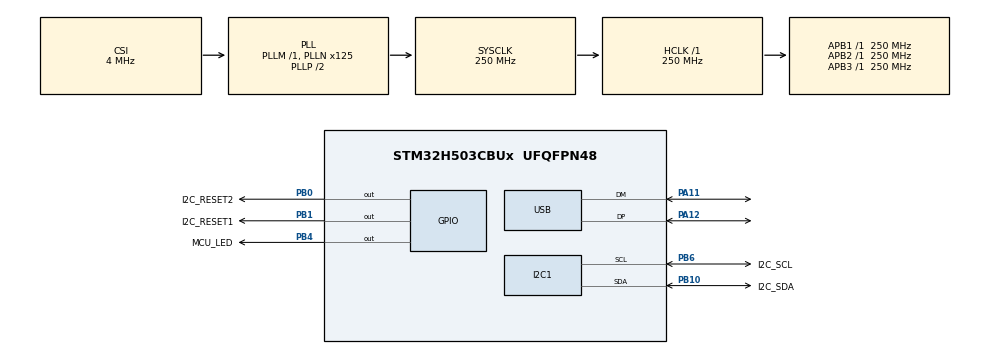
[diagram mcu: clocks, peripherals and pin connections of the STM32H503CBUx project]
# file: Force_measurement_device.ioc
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BOOTPATH.BootPathName=LEGACY
BOOTPATH.UserSelectedBootPath=LEGACY
I2C1.Analog_Filter=I2C_ANALOGFILTER_DISABLE
I2C1.Timing=0x50A0A6F8
Mcu.Family=STM32H5
Mcu.Name=STM32H503CBUx
Mcu.Package=UFQFPN48
NVIC.I2C1_ER_IRQn=true\:10\:0\:true\:false\:true\:false\:true\:true\:true
NVIC.I2C1_EV_IRQn=true\:10\:0\:true\:false\:true\:false\:true\:true\:true
NVIC.PriorityGroup=NVIC_PRIORITYGROUP_4
NVIC.TIM1_UP_IRQn=true\:15\:0\:false\:false\:true\:false\:false\:true\:true
NVIC.TimeBase=TIM1_UP_IRQn
NVIC.TimeBaseIP=TIM1
NVIC.USB_DRD_FS_IRQn=true\:0\:0\:false\:false\:true\:false\:true\:true\:true
PA11.Mode=Device
PA11.Signal=USB_DM
PA12.Mode=Device
PA12.Signal=USB_DP
PA13(JTMS/SWDIO).Mode=Serial_Wire
PA13(JTMS/SWDIO).Signal=DEBUG_JTMS-SWDIO
PA14(JTCK/SWCLK).Mode=Serial_Wire
PA14(JTCK/SWCLK).Signal=DEBUG_JTCK-SWCLK
PB0.GPIO_Label=I2C_RESET2
PB0.Signal=GPIO_Output
PB1.GPIO_Label=I2C_RESET1
PB1.Signal=GPIO_Output
PB10.GPIO_Label=I2C_SDA
PB10.Mode=I2C
PB10.Signal=I2C1_SDA
PB4(NJTRST).GPIO_Label=MCU_LED
PB4(NJTRST).Signal=GPIO_Output
PB6.GPIO_Label=I2C_SCL
PB6.Mode=I2C
PB6.Signal=I2C1_SCL
PH0-OSC_IN(PH0).Mode=HSE-External-Clock-Source
PH0-OSC_IN(PH0).Signal=RCC_OSC_IN
ProjectManager.HeapSize=0x0
ProjectManager.StackSize=0x400
ProjectManager.TargetToolchain=STM32CubeIDE
RCC.ADCFreq_Value=250000000
RCC.AHBFreq_Value=250000000
RCC.APB1Freq_Value=250000000
RCC.APB1TimFreq_Value=250000000
RCC.APB2Freq_Value=250000000
RCC.APB2TimFreq_Value=250000000
RCC.APB3Freq_Value=250000000
RCC.CSI_VALUE=4000000
RCC.CortexFreq_Value=250000000
RCC.EPOD_VALUE=4000000
RCC.HCLKFreq_Value=250000000
RCC.HSE_VALUE=16000000
RCC.HSI48_VALUE=48000000
RCC.HSI_VALUE=64000000
RCC.LSE_VALUE=32768
RCC.LSIRC_VALUE=32000
RCC.PLL2FRACN=0
RCC.PLLFRACN=0
RCC.PLLN=125
RCC.SYSCLKFreq_VALUE=250000000
RCC.SYSCLKSource=RCC_SYSCLKSOURCE_PLLCLK
RCC.USBFreq_Value=48000000
RCC.VCOOutputFreq_Value=500000000
THREADX.TX_APP_MEM_POOL_SIZE=4096
THREADX.TX_MINIMUM_STACK=512
THREADX.TX_TIMER_TICKS_PER_SECOND=1000
USB.VirtualMode=Device_Only
USBX.Core_System=1
USBX.REG_UX_DEVICE_CORE=true
USBX.USBD_CDCACM_EPIN_ADDR=2
USBX.USBD_CDCACM_EPOUT_ADDR=3
USBX.USBX_DEVICE_SYS_SIZE=1024
USBX.UX_DEVICE_APP_MEM_POOL_SIZE=20480
USBX.UX_DEVICE_CDC_ACM=1
USBX.UX_Device_CoreStack=1
VP_BOOTPATH_VS_BOOTPATH.Mode=BP_Activate
VP_CORTEX_M33_NS_VS_Hclk.Mode=Hclk_Mode
VP_ICACHE_VS_ICACHE.Mode=DirectMappedCache
VP_MEMORYMAP_VS_MEMORYMAP.Mode=CurAppReg
VP_PWR_VS_LPOM.Mode=PowerOptimisation
VP_PWR_VS_SECSignals.Mode=Security/Privilege
VP_SYS_VS_tim1.Mode=TIM1
VP_THREADX_VS_RTOSJjThreadXJjCoreJjDefault.Mode=Core_Default
VP_USBX_Core_System.Mode=Core_System
VP_USBX_UX\ Device\ CDC\ ACM\ Class_FS.Mode=UX_Device_class_CDC_ACM_FS
VP_USBX_UX\ Device\ CoreStack_FS.Mode=UX_Device_CoreStack_FS
board=custom

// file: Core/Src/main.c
/* USER CODE BEGIN Header */
/**
  ******************************************************************************
  * @file           : main.c
  * @brief          : Main program body
  ******************************************************************************
  * @attention
  *
  * Copyright (c) 2026 STMicroelectronics.
  * All rights reserved.
  *
  * This software is licensed under terms that can be found in the LICENSE file
  * in the root directory of this software component.
  * If no LICENSE file comes with this software, it is provided AS-IS.
  *
  ******************************************************************************
  */
/* USER CODE END Header */
#include "app_threadx.h"
#include "main.h"

I2C_HandleTypeDef hi2c1;

PCD_HandleTypeDef hpcd_USB_DRD_FS;

void SystemClock_Config(void);
static void MX_GPIO_Init(void);
static void MX_I2C1_Init(void);
static void MX_ICACHE_Init(void);
static void MX_USB_PCD_Init(void);

int main(void)
{

  /* MCU Configuration--------------------------------------------------------*/

  /* Reset of all peripherals, Initializes the Flash interface and the Systick. */
  HAL_Init();

  /* Configure the system clock */
  SystemClock_Config();

  /* Initialize all configured peripherals */
  MX_GPIO_Init();
  MX_I2C1_Init();
  MX_ICACHE_Init();
  MX_USB_PCD_Init();

  MX_ThreadX_Init();

  /* We should never get here as control is now taken by the scheduler */

  /* Infinite loop */
  while (1)
  {

  }
}

void SystemClock_Config(void)
{
  RCC_OscInitTypeDef RCC_OscInitStruct = {0};
  RCC_ClkInitTypeDef RCC_ClkInitStruct = {0};

  /** Configure the main internal regulator output voltage
  */
  __HAL_PWR_VOLTAGESCALING_CONFIG(PWR_REGULATOR_VOLTAGE_SCALE0);

  while(!__HAL_PWR_GET_FLAG(PWR_FLAG_VOSRDY)) {}

  /** Initializes the RCC Oscillators according to the specified parameters
  * in the RCC_OscInitTypeDef structure.
  */
  RCC_OscInitStruct.OscillatorType = RCC_OSCILLATORTYPE_HSI48|RCC_OSCILLATORTYPE_CSI;
  RCC_OscInitStruct.HSI48State = RCC_HSI48_ON;
  RCC_OscInitStruct.CSIState = RCC_CSI_ON;
  RCC_OscInitStruct.CSICalibrationValue = RCC_CSICALIBRATION_DEFAULT;
  RCC_OscInitStruct.PLL.PLLState = RCC_PLL_ON;
  RCC_OscInitStruct.PLL.PLLSource = RCC_PLL1_SOURCE_CSI;
  RCC_OscInitStruct.PLL.PLLM = 1;
  RCC_OscInitStruct.PLL.PLLN = 125;
  RCC_OscInitStruct.PLL.PLLP = 2;
  RCC_OscInitStruct.PLL.PLLQ = 2;
  RCC_OscInitStruct.PLL.PLLR = 2;
  RCC_OscInitStruct.PLL.PLLRGE = RCC_PLL1_VCIRANGE_2;
  RCC_OscInitStruct.PLL.PLLVCOSEL = RCC_PLL1_VCORANGE_WIDE;
  RCC_OscInitStruct.PLL.PLLFRACN = 0;
  if (HAL_RCC_OscConfig(&RCC_OscInitStruct) != HAL_OK)
  {
    Error_Handler();
  }

  /** Initializes the CPU, AHB and APB buses clocks
  */
  RCC_ClkInitStruct.ClockType = RCC_CLOCKTYPE_HCLK|RCC_CLOCKTYPE_SYSCLK
                              |RCC_CLOCKTYPE_PCLK1|RCC_CLOCKTYPE_PCLK2
                              |RCC_CLOCKTYPE_PCLK3;
  RCC_ClkInitStruct.SYSCLKSource = RCC_SYSCLKSOURCE_PLLCLK;
  RCC_ClkInitStruct.AHBCLKDivider = RCC_SYSCLK_DIV1;
  RCC_ClkInitStruct.APB1CLKDivider = RCC_HCLK_DIV1;
  RCC_ClkInitStruct.APB2CLKDivider = RCC_HCLK_DIV1;
  RCC_ClkInitStruct.APB3CLKDivider = RCC_HCLK_DIV1;

  if (HAL_RCC_ClockConfig(&RCC_ClkInitStruct, FLASH_LATENCY_5) != HAL_OK)
  {
    Error_Handler();
  }

  /** Configure the programming delay
  */
  __HAL_FLASH_SET_PROGRAM_DELAY(FLASH_PROGRAMMING_DELAY_2);
}

static void MX_I2C1_Init(void)
{

  /* USER CODE BEGIN I2C1_Init 0 */
  {
      GPIO_InitTypeDef gpio_recovery = {0};
      gpio_recovery.Mode = GPIO_MODE_OUTPUT_OD; // Open-Drain!
      gpio_recovery.Pull = GPIO_NOPULL;
      gpio_recovery.Speed = GPIO_SPEED_FREQ_LOW;

      gpio_recovery.Pin = I2C_SCL_Pin;
      HAL_GPIO_Init(I2C_SCL_GPIO_Port, &gpio_recovery);
      gpio_recovery.Pin = I2C_SDA_Pin;
      HAL_GPIO_Init(I2C_SDA_GPIO_Port, &gpio_recovery);

      HAL_GPIO_WritePin(I2C_SDA_GPIO_Port, I2C_SDA_Pin, GPIO_PIN_SET);
      for (int i = 0; i < 9; i++) {
          HAL_GPIO_WritePin(I2C_SCL_GPIO_Port, I2C_SCL_Pin, GPIO_PIN_RESET);
          HAL_Delay(1);
          HAL_GPIO_WritePin(I2C_SCL_GPIO_Port, I2C_SCL_Pin, GPIO_PIN_SET);
          HAL_Delay(1);
      }

      HAL_GPIO_WritePin(I2C_SCL_GPIO_Port, I2C_SCL_Pin, GPIO_PIN_RESET);
      HAL_Delay(1);
      HAL_GPIO_WritePin(I2C_SDA_GPIO_Port, I2C_SDA_Pin, GPIO_PIN_RESET);
      HAL_Delay(1);

      HAL_GPIO_WritePin(I2C_SCL_GPIO_Port, I2C_SCL_Pin, GPIO_PIN_SET);
      HAL_Delay(1);
      HAL_GPIO_WritePin(I2C_SDA_GPIO_Port, I2C_SDA_Pin, GPIO_PIN_SET);
      HAL_Delay(1);
  }
  /* USER CODE END I2C1_Init 0 */

  /* USER CODE BEGIN I2C1_Init 1 */
  HAL_GPIO_DeInit(I2C_SCL_GPIO_Port, I2C_SCL_Pin);
  HAL_GPIO_DeInit(I2C_SDA_GPIO_Port, I2C_SDA_Pin);
  __HAL_RCC_I2C1_FORCE_RESET();
    HAL_Delay(2);
    __HAL_RCC_I2C1_RELEASE_RESET();
  /* USER CODE END I2C1_Init 1 */
  hi2c1.Instance = I2C1;
  hi2c1.Init.Timing = 0x50A0A6F8;
  hi2c1.Init.OwnAddress1 = 0;
  hi2c1.Init.AddressingMode = I2C_ADDRESSINGMODE_7BIT;
  hi2c1.Init.DualAddressMode = I2C_DUALADDRESS_DISABLE;
  hi2c1.Init.OwnAddress2 = 0;
  hi2c1.Init.OwnAddress2Masks = I2C_OA2_NOMASK;
  hi2c1.Init.GeneralCallMode = I2C_GENERALCALL_DISABLE;
  hi2c1.Init.NoStretchMode = I2C_NOSTRETCH_DISABLE;
  if (HAL_I2C_Init(&hi2c1) != HAL_OK)
  {
    Error_Handler();
  }

  /** Configure Analogue filter
  */
  if (HAL_I2CEx_ConfigAnalogFilter(&hi2c1, I2C_ANALOGFILTER_DISABLE) != HAL_OK)
  {
    Error_Handler();
  }

  /** Configure Digital filter
  */
  if (HAL_I2CEx_ConfigDigitalFilter(&hi2c1, 0) != HAL_OK)
  {
    Error_Handler();
  }

}

static void MX_ICACHE_Init(void)
{

  /** Enable instruction cache in 1-way (direct mapped cache)
  */
  if (HAL_ICACHE_ConfigAssociativityMode(ICACHE_1WAY) != HAL_OK)
  {
    Error_Handler();
  }
  if (HAL_ICACHE_Enable() != HAL_OK)
  {
    Error_Handler();
  }

}

static void MX_USB_PCD_Init(void)
{

  hpcd_USB_DRD_FS.Instance = USB_DRD_FS;
  hpcd_USB_DRD_FS.Init.dev_endpoints = 8;
  hpcd_USB_DRD_FS.Init.speed = USBD_FS_SPEED;
  hpcd_USB_DRD_FS.Init.phy_itface = PCD_PHY_EMBEDDED;
  hpcd_USB_DRD_FS.Init.Sof_enable = DISABLE;
  hpcd_USB_DRD_FS.Init.low_power_enable = DISABLE;
  hpcd_USB_DRD_FS.Init.lpm_enable = DISABLE;
  hpcd_USB_DRD_FS.Init.battery_charging_enable = DISABLE;
  hpcd_USB_DRD_FS.Init.vbus_sensing_enable = DISABLE;
  hpcd_USB_DRD_FS.Init.bulk_doublebuffer_enable = DISABLE;
  hpcd_USB_DRD_FS.Init.iso_singlebuffer_enable = DISABLE;
  if (HAL_PCD_Init(&hpcd_USB_DRD_FS) != HAL_OK)
  {
    Error_Handler();
  }

}

static void MX_GPIO_Init(void)
{
  GPIO_InitTypeDef GPIO_InitStruct = {0};

  /* GPIO Ports Clock Enable */
  __HAL_RCC_GPIOH_CLK_ENABLE();
  __HAL_RCC_GPIOB_CLK_ENABLE();
  __HAL_RCC_GPIOA_CLK_ENABLE();

  /*Configure GPIO pin Output Level */
  HAL_GPIO_WritePin(GPIOB, I2C_RESET2_Pin|I2C_RESET1_Pin|MCU_LED_Pin, GPIO_PIN_RESET);

  /*Configure GPIO pins : I2C_RESET2_Pin I2C_RESET1_Pin MCU_LED_Pin */
  GPIO_InitStruct.Pin = I2C_RESET2_Pin|I2C_RESET1_Pin|MCU_LED_Pin;
  GPIO_InitStruct.Mode = GPIO_MODE_OUTPUT_PP;
  GPIO_InitStruct.Pull = GPIO_NOPULL;
  GPIO_InitStruct.Speed = GPIO_SPEED_FREQ_LOW;
  HAL_GPIO_Init(GPIOB, &GPIO_InitStruct);

  /* USER CODE BEGIN MX_GPIO_Init_2 */
  HAL_GPIO_WritePin(GPIOB, I2C_RESET2_Pin|I2C_RESET1_Pin, GPIO_PIN_SET);
  HAL_Delay(1);
  /* USER CODE END MX_GPIO_Init_2 */
}

void HAL_TIM_PeriodElapsedCallback(TIM_HandleTypeDef *htim)
{
  if (htim->Instance == TIM1)
  {
    HAL_IncTick();
  }
}

void Error_Handler(void)
{
  __disable_irq();
  while (1)
  {
  }
}
